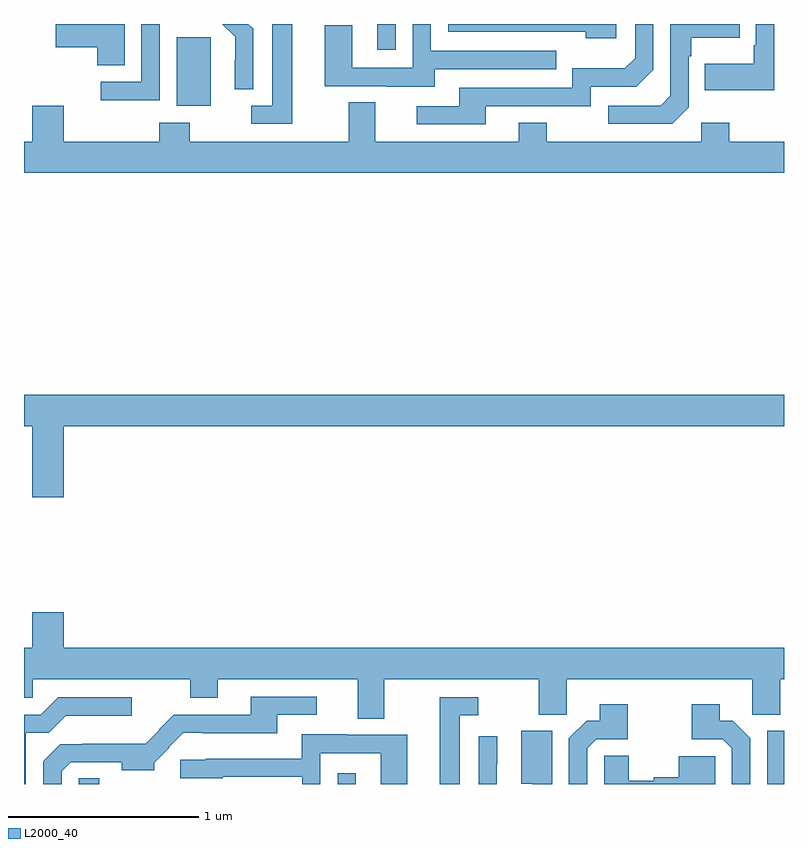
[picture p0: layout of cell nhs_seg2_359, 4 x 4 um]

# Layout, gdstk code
import gdstk
lib = gdstk.Library(unit=1e-6, precision=1e-09)
def R(c, l, rs):  # rectangles x0, y0, x1, y1
    for r in rs: c.add(gdstk.rectangle(r[:2], r[2:], *l))
def P(c, l, *ps):  # polygons
    for p in ps: c.add(gdstk.Polygon(p, *l))
L2000_40 = (2000, 40)

nhs_seg2_359 = lib.new_cell('nhs_seg2_359')
R(nhs_seg2_359, L2000_40, [(129.288,597.8,129.397,597.83), (130.65,597.8,130.747,597.856), (132.911,597.8,133,598.08), (129.803,601.37,129.982,601.731), (130.859,601.665,130.956,601.8)])
P(nhs_seg2_359, L2000_40, [(132.118,601.8),(131.232,601.8),(131.232,601.758),(131.957,601.758),(131.957,601.724),(132.118,601.724)],
  [(130.206,601.774),(130.18,601.8),(130.044,601.8),(130.112,601.733),(130.112,601.61),(130.11,601.61),(130.11,601.456),(130.206,601.456)],
  [(131.161,601.563),(131.801,601.563),(131.801,601.659),(131.142,601.659),(131.142,601.8),(131.046,601.8),(131.046,601.569),(130.728,601.569),(130.728,601.793),(130.583,601.793),(130.583,601.473),(130.907,601.473),(130.907,601.469),(131.161,601.469)],
  [(129.714,601.8),(129.618,601.8),(129.618,601.497),(129.405,601.497),(129.405,601.399),(129.714,601.399)],
  [(132.948,601.8),(132.852,601.8),(132.852,601.687),(132.84,601.687),(132.84,601.591),(132.583,601.591),(132.583,601.451),(132.948,601.451)],
  [(132.498,601.362),(132.498,601.631),(132.511,601.631),(132.511,601.727),(132.767,601.727),(132.767,601.8),(132.402,601.8),(132.402,601.422),(132.351,601.371),(132.075,601.371),(132.075,601.275),(132.411,601.275)],
  [(131.431,601.368),(131.982,601.368),(131.982,601.47),(132.222,601.47),(132.312,601.56),(132.312,601.8),(132.216,601.8),(132.216,601.62),(132.163,601.567),(131.886,601.567),(131.886,601.464),(131.291,601.464),(131.291,601.368),(131.067,601.368),(131.067,601.272),(131.431,601.272)],
  [(129.529,601.8),(129.168,601.8),(129.168,601.678),(129.386,601.678),(129.386,601.582),(129.529,601.582)],
  [(130.411,601.8),(130.307,601.8),(130.307,601.371),(130.197,601.371),(130.197,601.275),(130.411,601.275)],
  [(133,601.18),(132.711,601.18),(132.711,601.279),(132.564,601.279),(132.564,601.18),(131.751,601.18),(131.751,601.279),(131.603,601.279),(131.603,601.18),(130.849,601.18),(130.849,601.388),(130.709,601.388),(130.709,601.18),(129.873,601.18),(129.873,601.279),(129.713,601.279),(129.713,601.18),(129.208,601.18),(129.208,601.369),(129.044,601.369),(129.044,601.18),(129,601.18),(129,601.016),(133,601.016)],
  [(129.208,599.684),(133,599.684),(133,599.848),(129,599.848),(129,599.684),(129.044,599.684),(129.044,599.31),(129.208,599.31)],
  [(130.897,598.352),(131.71,598.352),(131.71,598.165),(131.856,598.165),(131.856,598.352),(132.834,598.352),(132.834,598.165),(132.981,598.165),(132.981,598.352),(133,598.352),(133,598.516),(129.208,598.516),(129.208,598.705),(129.044,598.705),(129.044,598.516),(129,598.516),(129,598.254),(129.045,598.254),(129.045,598.352),(129.874,598.352),(129.874,598.253),(130.021,598.253),(130.021,598.352),(130.757,598.352),(130.757,598.144),(130.897,598.144)],
  [(129.198,597.867),(129.246,597.915),(129.515,597.915),(129.515,597.872),(129.686,597.872),(129.686,597.912),(129.765,597.99),(129.762,597.993),(129.839,598.07),(129.94,598.07),(129.94,598.067),(130.333,598.067),(130.333,598.164),(130.54,598.164),(130.54,598.26),(130.193,598.26),(130.193,598.164),(129.789,598.164),(129.713,598.087),(129.715,598.085),(129.641,598.012),(129.307,598.012),(129.307,598.01),(129.191,598.01),(129.102,597.921),(129.102,597.8),(129.198,597.8)],
  [(129.009,598.069),(129.13,598.069),(129.221,598.16),(129.568,598.16),(129.568,598.257),(129.18,598.257),(129.087,598.164),(129,598.164),(129,597.8),(129.009,597.8)],
  [(131.293,598.161),(131.392,598.161),(131.392,598.257),(131.189,598.257),(131.189,597.8),(131.293,597.8)],
  [(132.822,598.041),(132.729,598.134),(132.661,598.134),(132.661,598.219),(132.514,598.219),(132.514,598.035),(132.678,598.035),(132.726,597.987),(132.726,597.8),(132.822,597.8)],
  [(131.964,597.987),(132.012,598.035),(132.177,598.035),(132.177,598.219),(132.029,598.219),(132.029,598.134),(131.961,598.134),(131.868,598.041),(131.868,597.8),(131.964,597.8)],
  [(131.779,598.08),(131.618,598.08),(131.618,597.801),(131.675,597.801),(131.675,597.8),(131.779,597.8)],
  [(130.56,597.963),(130.878,597.963),(130.878,597.8),(131.017,597.8),(131.017,598.059),(130.699,598.059),(130.699,598.063),(130.463,598.063),(130.463,597.934),(129.957,597.934),(129.957,597.927),(129.822,597.927),(129.822,597.831),(130.047,597.831),(130.047,597.837),(130.464,597.837),(130.464,597.8),(130.56,597.8)],
  [(131.489,597.904),(131.49,597.904),(131.49,598.051),(131.394,598.051),(131.394,597.8),(131.489,597.8)],
  [(132.637,597.945),(132.446,597.945),(132.446,597.836),(132.315,597.836),(132.315,597.818),(132.184,597.818),(132.184,597.95),(132.054,597.95),(132.054,597.842),(132.053,597.842),(132.053,597.8),(132.637,597.8)])

lib.write_gds('nhs_seg2_359.gds')
